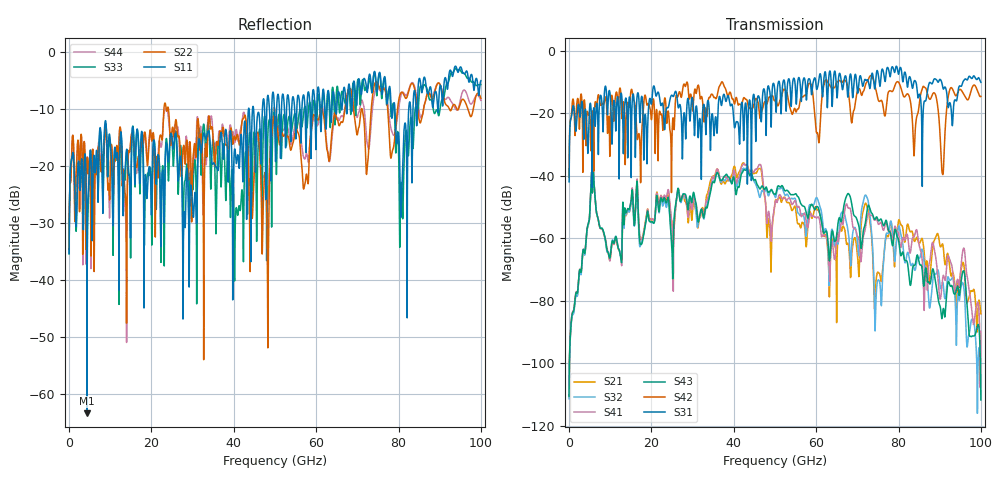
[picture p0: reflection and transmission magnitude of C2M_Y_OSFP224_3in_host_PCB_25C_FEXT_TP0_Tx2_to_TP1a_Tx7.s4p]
# GHz S RI R 45
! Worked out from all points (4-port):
!   4000 points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, 25 MHz to 100 GHz, reference 45 ohm
!   strongest paths, dB at 25 MHz, 25.02 GHz, 50.02 GHz, 75.03 GHz, 100 GHz:
!     S31: -41.9, -14.2, -13.8, -7.2, -10.1
!     S42: -40.4, -26.7, -15.9, -15.6, -14.6
!     S43: -110.5, -64.6, -45.9, -54.1, -111.7
!     S41: -110.2, -55.8, -48.7, -55.2, -89.8
!     S32: -111.4, -59.6, -46.8, -73.3, -100.0
!     S21: -110.7, -55.0, -48.4, -70.8, -84.2
!   lowest |S11| = -63.5 dB at 4.35 GHz (marker M1), VSWR 1.00, Z = 45 + j0.0448 ohm
!   |S11| at or under -10 dB: start of sweep to 43.57 GHz; 44.81 GHz to 46.96 GHz (2.152 GHz wide, 4.69 % of centre); 79.13 GHz to 82.48 GHz (3.352 GHz wide, 4.15 % of centre)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
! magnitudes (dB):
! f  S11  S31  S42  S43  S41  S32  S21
! 25 MHz  -35.4  -41.9  -40.4  -110.5  -110.2  -111.4  -110.7
! 4.35 GHz  -63.5  -26.0  -20.1  -57.3  -57.2  -57.6  -57.5
! 46.27 GHz  -11.9  -15.5  -20.9  -44.1  -36.4  -46.9  -37.7
! 48.92 GHz  -18.2  -16.3  -14.9  -44.8  -56.7  -44.9  -63.6
! 86.28 GHz  -4.4  -16.1  -11.6  -73.9  -81.0  -68.5  -65.2
! 90.67 GHz  -9.4  -11.2  -39.4  -84.5  -73.2  -74.0  -61.8
! 100 GHz  -5.0  -10.1  -14.6  -111.7  -89.8  -100.0  -84.2
